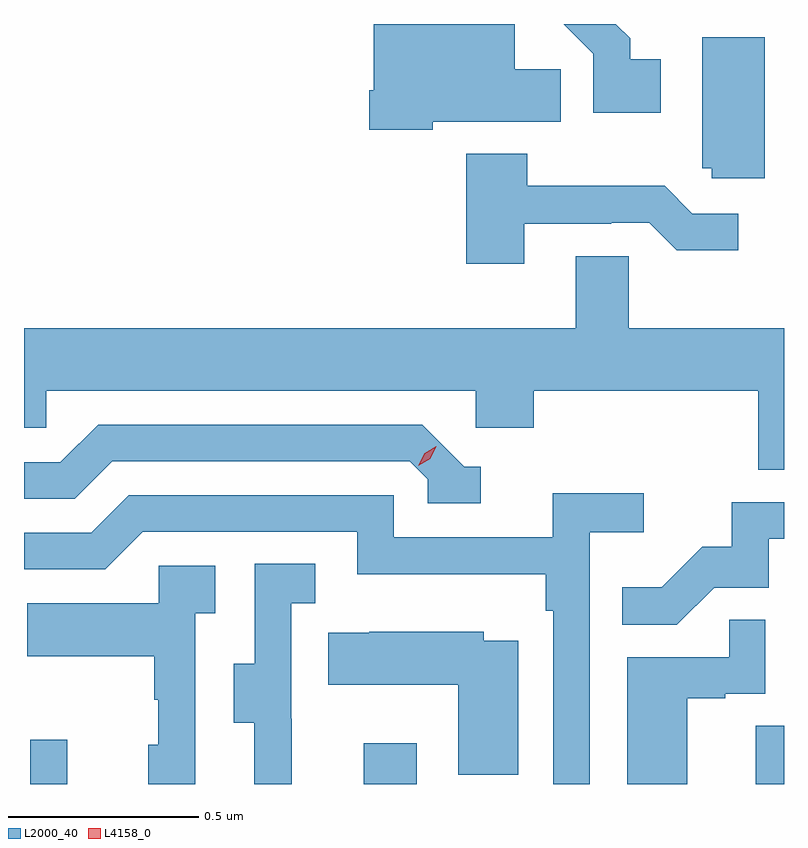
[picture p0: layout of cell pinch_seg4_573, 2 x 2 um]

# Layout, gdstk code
import gdstk
lib = gdstk.Library(unit=1e-6, precision=1e-09)
def R(c, l, rs):  # rectangles x0, y0, x1, y1
    for r in rs: c.add(gdstk.rectangle(r[:2], r[2:], *l))
def P(c, l, *ps):  # polygons
    for p in ps: c.add(gdstk.Polygon(p, *l))
L2000_40 = (2000, 40)
L4158_0 = (4158, 0)

pinch_seg4_573 = lib.new_cell('pinch_seg4_573')
R(pinch_seg4_573, L2000_40, [(1100.835,785.129,1100.933,785.245), (1101.713,785.129,1101.853,785.236), (1102.745,785.129,1102.819,785.282)])
P(pinch_seg4_573, L2000_40, [(1102.495,787.036),(1102.414,787.036),(1102.414,787.091),(1102.376,787.129),(1102.239,787.129),(1102.317,787.051),(1102.317,786.896),(1102.495,786.896)],
  [(1101.894,786.872),(1102.232,786.872),(1102.232,787.01),(1102.111,787.01),(1102.111,787.129),(1101.74,787.129),(1101.74,786.955),(1101.728,786.955),(1101.728,786.851),(1101.894,786.851)],
  [(1102.768,787.094),(1102.604,787.094),(1102.604,786.75),(1102.629,786.75),(1102.629,786.723),(1102.768,786.723)],
  [(1102.135,786.603),(1102.364,786.603),(1102.364,786.606),(1102.464,786.606),(1102.537,786.533),(1102.699,786.533),(1102.699,786.63),(1102.578,786.63),(1102.505,786.703),(1102.143,786.703),(1102.143,786.787),(1101.983,786.787),(1101.983,786.498),(1102.135,786.498)],
  [(1102.819,786.328),(1102.41,786.328),(1102.41,786.518),(1102.271,786.518),(1102.271,786.328),(1100.819,786.328),(1100.819,786.066),(1100.877,786.066),(1100.877,786.164),(1102.008,786.164),(1102.008,786.066),(1102.16,786.066),(1102.16,786.164),(1102.751,786.164),(1102.751,785.956),(1102.819,785.956)],
  [(1102.021,785.964),(1101.978,785.964),(1101.867,786.075),(1101.014,786.075),(1100.915,785.976),(1100.819,785.976),(1100.819,785.88),(1100.952,785.88),(1101.051,785.979),(1101.834,785.979),(1101.882,785.931),(1101.882,785.868),(1102.021,785.868)],
  [(1102.308,785.792),(1102.45,785.792),(1102.45,785.894),(1102.211,785.894),(1102.211,785.778),(1101.792,785.778),(1101.792,785.889),(1101.095,785.889),(1100.996,785.79),(1100.819,785.79),(1100.819,785.694),(1101.033,785.694),(1101.132,785.793),(1101.696,785.793),(1101.696,785.681),(1102.192,785.681),(1102.192,785.585),(1102.212,785.585),(1102.212,785.129),(1102.308,785.129)],
  [(1102.635,785.646),(1102.779,785.646),(1102.779,785.775),(1102.819,785.775),(1102.819,785.871),(1102.681,785.871),(1102.681,785.754),(1102.604,785.754),(1102.497,785.647),(1102.393,785.647),(1102.393,785.548),(1102.537,785.548)],
  [(1101.524,785.301),(1101.522,785.301),(1101.522,785.605),(1101.586,785.605),(1101.586,785.708),(1101.426,785.708),(1101.426,785.445),(1101.371,785.445),(1101.371,785.29),(1101.425,785.29),(1101.425,785.129),(1101.524,785.129)],
  [(1101.27,785.579),(1101.322,785.579),(1101.322,785.703),(1101.174,785.703),(1101.174,785.605),(1100.827,785.605),(1100.827,785.465),(1101.162,785.465),(1101.162,785.351),(1101.172,785.351),(1101.172,785.232),(1101.146,785.232),(1101.146,785.129),(1101.27,785.129)],
  [(1102.564,785.355),(1102.664,785.355),(1102.664,785.367),(1102.77,785.367),(1102.77,785.561),(1102.675,785.561),(1102.675,785.463),(1102.406,785.463),(1102.406,785.129),(1102.564,785.129)],
  [(1102.12,785.506),(1102.029,785.506),(1102.029,785.53),(1101.727,785.53),(1101.727,785.527),(1101.619,785.527),(1101.619,785.39),(1101.962,785.39),(1101.962,785.154),(1102.12,785.154)])
P(pinch_seg4_573, L4158_0, [(1101.857,785.966),(1101.857,785.966),(1101.873,785.999),(1101.904,786.018),(1101.904,786.018),(1101.904,786.018),(1101.888,785.985),(1101.857,785.966)])

lib.write_gds('pinch_seg4_573.gds')
